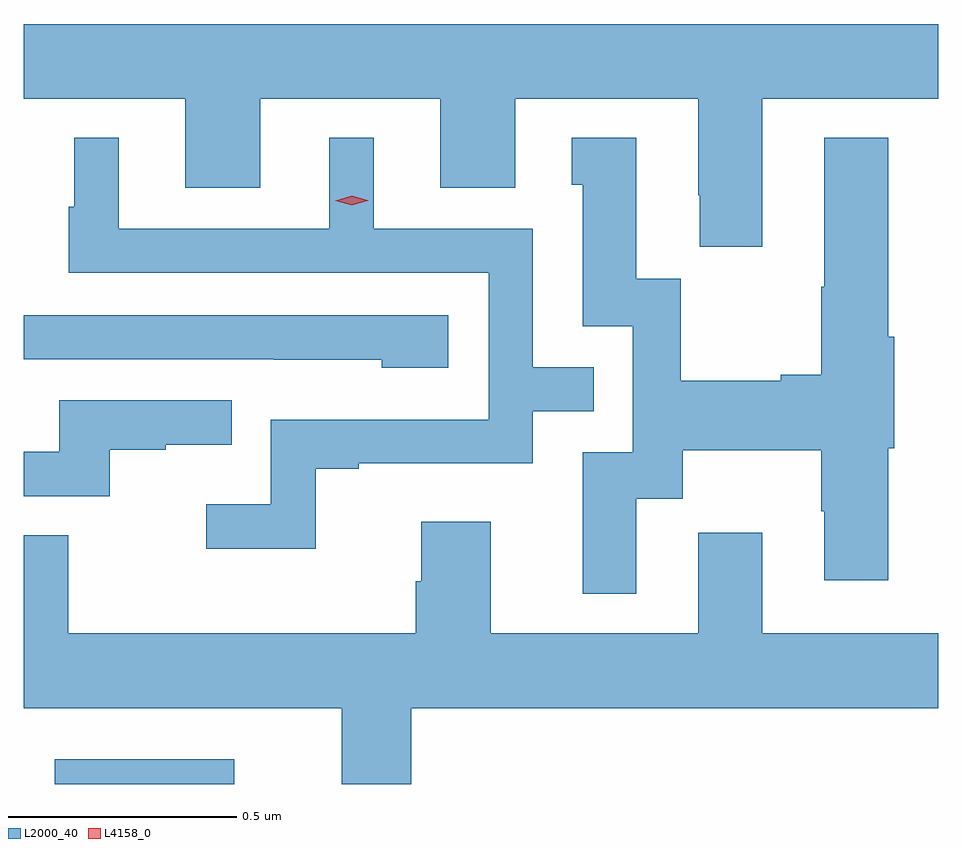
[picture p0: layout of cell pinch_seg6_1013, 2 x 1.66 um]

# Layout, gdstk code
import gdstk
lib = gdstk.Library(unit=1e-6, precision=1e-09)
def R(c, l, rs):  # rectangles x0, y0, x1, y1
    for r in rs: c.add(gdstk.rectangle(r[:2], r[2:], *l))
def P(c, l, *ps):  # polygons
    for p in ps: c.add(gdstk.Polygon(p, *l))
L2000_40 = (2000, 40)
L4158_0 = (4158, 0)

pinch_seg6_1013 = lib.new_cell('pinch_seg6_1013')
R(pinch_seg6_1013, L2000_40, [(266.822,933.85,267.214,933.904)])
P(pinch_seg6_1013, L2000_40, [(268.369,935.348),(268.754,935.348),(268.754,935.512),(266.754,935.512),(266.754,935.348),(267.107,935.348),(267.107,935.154),(267.271,935.154),(267.271,935.348),(267.665,935.348),(267.665,935.154),(267.829,935.154),(267.829,935.348),(268.229,935.348),(268.229,935.137),(268.232,935.137),(268.232,935.025),(268.369,935.025)],
  [(267.393,934.539),(267.487,934.539),(267.487,934.551),(267.867,934.551),(267.867,934.665),(268.001,934.665),(268.001,934.761),(267.867,934.761),(267.867,935.064),(267.52,935.064),(267.52,935.263),(267.422,935.263),(267.422,935.064),(266.962,935.064),(266.962,935.263),(266.864,935.263),(266.864,935.112),(266.853,935.112),(266.853,934.968),(267.771,934.968),(267.771,934.647),(267.294,934.647),(267.294,934.462),(267.153,934.462),(267.153,934.364),(267.393,934.364)],
  [(268.093,934.474),(268.195,934.474),(268.195,934.58),(268.498,934.58),(268.498,934.446),(268.505,934.446),(268.505,934.296),(268.645,934.296),(268.645,934.584),(268.658,934.584),(268.658,934.828),(268.645,934.828),(268.645,935.263),(268.505,935.263),(268.505,934.937),(268.498,934.937),(268.498,934.745),(268.409,934.745),(268.409,934.732),(268.191,934.732),(268.191,934.955),(268.093,934.955),(268.093,935.263),(267.953,935.263),(267.953,935.16),(267.977,935.16),(267.977,934.851),(268.086,934.851),(268.086,934.575),(267.977,934.575),(267.977,934.266),(268.093,934.266)],
  [(267.682,934.875),(266.754,934.875),(266.754,934.779),(267.301,934.779),(267.301,934.778),(267.537,934.778),(267.537,934.76),(267.682,934.76)],
  [(266.942,934.581),(267.065,934.581),(267.065,934.592),(267.209,934.592),(267.209,934.689),(266.832,934.689),(266.832,934.577),(266.754,934.577),(266.754,934.479),(266.942,934.479)],
  [(267.602,934.016),(268.754,934.016),(268.754,934.18),(268.369,934.18),(268.369,934.399),(268.229,934.399),(268.229,934.18),(267.775,934.18),(267.775,934.423),(267.623,934.423),(267.623,934.293),(267.611,934.293),(267.611,934.18),(266.851,934.18),(266.851,934.394),(266.754,934.394),(266.754,934.016),(267.449,934.016),(267.449,933.85),(267.602,933.85)])
P(pinch_seg6_1013, L4158_0, [(267.471,935.116),(267.435,935.125),(267.435,935.125),(267.435,935.125),(267.471,935.136),(267.506,935.127),(267.507,935.126),(267.506,935.126)])

lib.write_gds('pinch_seg6_1013.gds')
